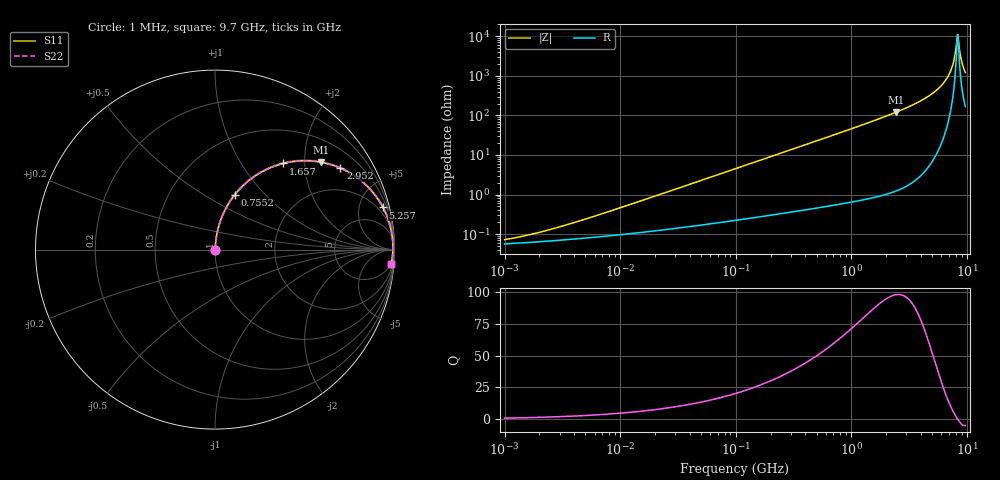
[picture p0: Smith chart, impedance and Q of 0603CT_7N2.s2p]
# MHz  S  MA  R  50
!Freq  MagS11  AngS11  MagS21  AngS21  MagS12  AngS12  MagS22  AngS22
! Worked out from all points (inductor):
!   924 points, 1 MHz to 9.7 GHz, reference 50 ohm
!   read as one part in series: L = 7.2 nH near 5.374 MHz
!   highest Q = 98.1 at 2.443 GHz (marker M1), where L = 7.88 nH
!   self-resonance near 8.308 GHz
!   S11 on the Smith chart (normalised r, x): 1 MHz: 1.00, +0.00; 755.2 MHz: 1.01, +0.69; 1.657 GHz: 1.02, +1.56; 2.952 GHz: 1.03, +3.06; 5.257 GHz: 1.17, +7.92; 9.7 GHz: 4, -24
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1  0.0007234 38.7  0.9994 -0.0  0.9994 -0.0  0.0007234 38.7
1.986894  0.001103 54.5  0.9994 -0.1  0.9994 -0.1  0.001103 54.5
4.629047  0.002232 69.5  0.9992 -0.1  0.9992 -0.1  0.002232 69.5
21.42807  0.00976 82.2  0.9987 -0.6  0.9987 -0.6  0.00976 82.2
99.19155  0.04479 84.6  0.9968 -2.6  0.9968 -2.6  0.04479 84.6
459.1623  0.2032 77.1  0.9749 -11.7  0.9749 -11.7  0.2032 77.1
755.153  0.3241 70.2  0.9408 -18.9  0.9408 -18.9  0.3241 70.2
1657.385  0.6121 51.6  0.7839 -37.7  0.7839 -37.7  0.6121 51.6
2104.439  0.7094 44.2  0.6974 -45.2  0.6974 -45.2  0.7094 44.2
2443.189  0.7669 39.3  0.634 -50.1  0.634 -50.1  0.7669 39.3
2951.638  0.8328 33.0  0.5451 -56.4  0.5451 -56.4  0.8328 33.0
4058.328  0.9194 22.4  0.3815 -66.8  0.3815 -66.8  0.9194 22.4
5256.575  0.9646 14.1  0.2436 -74.7  0.2436 -74.7  0.9646 14.1
6225.385  0.9821 8.8  0.1534 -78.9  0.1534 -78.9  0.9821 8.8
7014.919  0.9889 5.2  0.09016 -80.4  0.09016 -80.4  0.9889 5.2
7520.943  0.9909 3.0  0.05361 -78.7  0.05361 -78.7  0.9909 3.0
7748.835  0.9913 2.1  0.03815 -75.7  0.03815 -75.7  0.9913 2.1
8063.469  0.9914 0.9  0.0184 -61.6  0.0184 -61.6  0.9914 0.9
8307.8  0.9911 0.0  0.008907 -3.8  0.008907 -3.8  0.9911 0.0
8559.534  0.9906 -0.9  0.01774 57.5  0.01774 57.5  0.9906 -0.9
9176.979  0.9883 -3.0  0.05274 75.7  0.05274 75.7  0.9883 -3.0
9700  0.9854 -4.6  0.08157 77.4  0.08157 77.4  0.9854 -4.6
